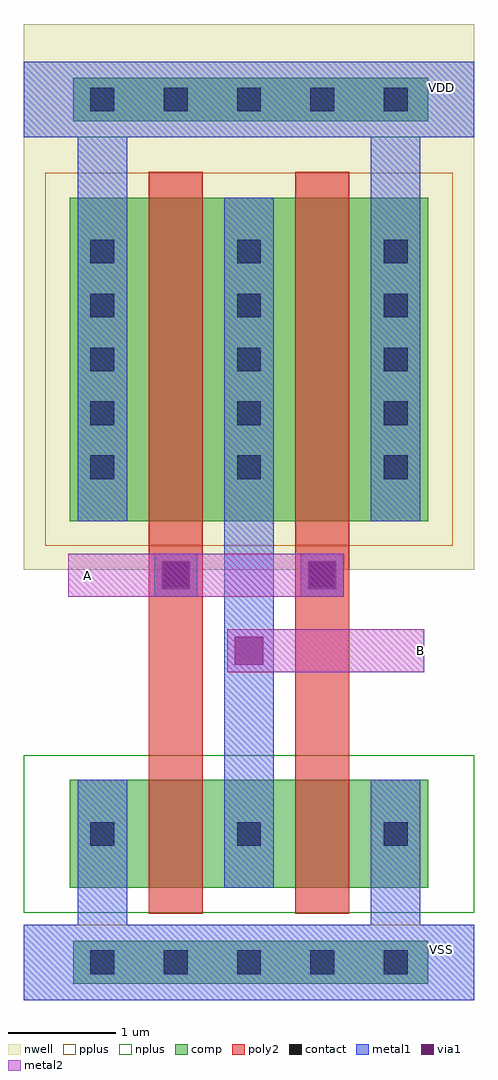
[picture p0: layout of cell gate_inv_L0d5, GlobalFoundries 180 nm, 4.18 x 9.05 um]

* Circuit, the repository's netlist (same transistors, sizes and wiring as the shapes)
** sch_path: /foss/designs/chipathon_2025/designs/gf180/gate_inv_L0d5/xschem/gate_inv_L0d5.sch
.subckt gate_inv_L0d5 VDD B A VSS
*.PININFO B:O A:I VDD:B VSS:B
MN B A VSS VSS nfet_03v3 L=0.5u W=1u nf=1 m=2
MP B A VDD VDD pfet_03v3 L=0.5u W=3u nf=1 m=2
.ends

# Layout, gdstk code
import gdstk
lib = gdstk.Library(unit=1e-6, precision=5e-09)
def R(c, l, rs):  # rectangles x0, y0, x1, y1
    for r in rs: c.add(gdstk.rectangle(r[:2], r[2:], *l))
def A(c, l, x, y, w, h, nx, ny, dx, dy):  # array of equal rectangles
    R(c, l, [(x+i*dx, y+j*dy, x+i*dx+w, y+j*dy+h) for i in range(nx) for j in range(ny)])
nwell = (21, 0)
comp = (22, 0)
poly2 = (30, 0)
pplus = (31, 0)
nplus = (32, 0)
contact = (33, 0)
metal1 = (34, 0)
via1 = (35, 0)
metal2 = (36, 0)

gate_inv_l0d5 = lib.new_cell('gate_inv_L0d5')
R(gate_inv_l0d5, nwell, [(-0.005,3.99,4.175,9.05)])
A(gate_inv_l0d5, comp, 0.525, 0.15, 0.4, 0.4, 5, 2, 0.68, 8)
R(gate_inv_l0d5, comp, [(0.455,0.15,3.745,0.55), (0.425,1.04,3.745,2.04), (0.425,4.44,3.745,7.44), (0.455,8.15,3.745,8.55)])
R(gate_inv_l0d5, poly2, [(1.155,0.8,1.655,2.28), (1.155,0.8,1.655,3.69), (2.515,0.8,3.015,2.28), (2.515,0.8,3.015,3.69), (1.155,3.69,1.655,4.19), (2.515,3.69,3.015,4.19), (1.155,4.19,1.655,7.68), (2.515,4.19,3.015,7.68)])
R(gate_inv_l0d5, pplus, [(-0.005,0,4.175,0.7), (0.195,4.21,3.975,7.67)])
R(gate_inv_l0d5, nplus, [(-0.005,0.81,4.175,2.27), (-0.005,8,4.175,8.7)])
A(gate_inv_l0d5, contact, 0.615, 0.24, 0.22, 0.22, 5, 2, 0.68, 8)
R(gate_inv_l0d5, contact, [(0.615,1.43,0.835,1.65), (0.615,1.43,0.835,1.65), (0.615,1.43,0.835,1.65), (1.975,1.43,2.195,1.65), (1.975,1.43,2.195,1.65), (1.975,1.43,2.195,1.65), (3.335,1.43,3.555,1.65), (3.335,1.43,3.555,1.65), (3.335,1.43,3.555,1.65), (1.295,3.83,1.515,4.05), (2.655,3.83,2.875,4.05), (0.615,4.83,0.835,5.05), (0.615,4.83,0.835,5.05), (0.615,4.83,0.835,5.05), (1.975,4.83,2.195,5.05), (1.975,4.83,2.195,5.05), (1.975,4.83,2.195,5.05), (3.335,4.83,3.555,5.05), (3.335,4.83,3.555,5.05), (3.335,4.83,3.555,5.05), (0.615,5.33,0.835,5.55), (0.615,5.33,0.835,5.55), (0.615,5.33,0.835,5.55), (1.975,5.33,2.195,5.55), (1.975,5.33,2.195,5.55), (1.975,5.33,2.195,5.55), (3.335,5.33,3.555,5.55), (3.335,5.33,3.555,5.55), (3.335,5.33,3.555,5.55), (0.615,5.83,0.835,6.05), (0.615,5.83,0.835,6.05), (0.615,5.83,0.835,6.05), (1.975,5.83,2.195,6.05), (1.975,5.83,2.195,6.05), (1.975,5.83,2.195,6.05), (3.335,5.83,3.555,6.05), (3.335,5.83,3.555,6.05), (3.335,5.83,3.555,6.05), (0.615,6.33,0.835,6.55), (0.615,6.33,0.835,6.55), (0.615,6.33,0.835,6.55), (1.975,6.33,2.195,6.55), (1.975,6.33,2.195,6.55), (1.975,6.33,2.195,6.55), (3.335,6.33,3.555,6.55), (3.335,6.33,3.555,6.55), (3.335,6.33,3.555,6.55), (0.615,6.83,0.835,7.05), (0.615,6.83,0.835,7.05), (0.615,6.83,0.835,7.05), (1.975,6.83,2.195,7.05), (1.975,6.83,2.195,7.05), (1.975,6.83,2.195,7.05), (3.335,6.83,3.555,7.05), (3.335,6.83,3.555,7.05), (3.335,6.83,3.555,7.05)])
A(gate_inv_l0d5, metal1, 0.525, 0.15, 0.4, 0.4, 5, 2, 0.68, 8)
R(gate_inv_l0d5, metal1, [(0.495,1.04,0.955,2.04), (0.495,1.04,0.955,2.04), (0.495,1.04,0.955,2.04), (1.855,1.04,2.315,2.04), (1.855,1.04,2.315,2.04), (1.855,1.04,2.315,2.04), (3.215,1.04,3.675,2.04), (3.215,1.04,3.675,2.04), (3.215,1.04,3.675,2.04), (0.495,1.31,0.955,1.77), (0.495,1.31,0.955,1.77), (0.495,1.31,0.955,1.77), (1.855,1.31,2.315,1.77), (1.855,1.31,2.315,1.77), (1.855,1.31,2.315,1.77), (3.215,1.31,3.675,1.77), (3.215,1.31,3.675,1.77), (3.215,1.31,3.675,1.77), (1.885,3.04,2.285,3.44), (1.205,3.74,1.605,4.14), (1.205,3.74,1.605,4.14), (2.565,3.74,2.965,4.14), (2.565,3.74,2.965,4.14), (0.495,4.44,0.955,7.44), (0.495,4.44,0.955,7.44), (0.495,4.44,0.955,7.44), (1.855,4.44,2.315,7.44), (1.855,4.44,2.315,7.44), (1.855,4.44,2.315,7.44), (3.215,4.44,3.675,7.44), (3.215,4.44,3.675,7.44), (3.215,4.44,3.675,7.44), (0.495,4.71,0.955,5.17), (0.495,4.71,0.955,5.17), (0.495,4.71,0.955,5.17), (1.855,4.71,2.315,5.17), (1.855,4.71,2.315,5.17), (1.855,4.71,2.315,5.17), (3.215,4.71,3.675,5.17), (3.215,4.71,3.675,5.17), (3.215,4.71,3.675,5.17), (0.495,5.21,0.955,5.67), (0.495,5.21,0.955,5.67), (0.495,5.21,0.955,5.67), (1.855,5.21,2.315,5.67), (1.855,5.21,2.315,5.67), (1.855,5.21,2.315,5.67), (3.215,5.21,3.675,5.67), (3.215,5.21,3.675,5.67), (3.215,5.21,3.675,5.67), (0.495,5.71,0.955,6.17), (0.495,5.71,0.955,6.17), (0.495,5.71,0.955,6.17), (1.855,5.71,2.315,6.17), (1.855,5.71,2.315,6.17), (1.855,5.71,2.315,6.17), (3.215,5.71,3.675,6.17), (3.215,5.71,3.675,6.17), (3.215,5.71,3.675,6.17), (0.495,6.21,0.955,6.67), (0.495,6.21,0.955,6.67), (0.495,6.21,0.955,6.67), (1.855,6.21,2.315,6.67), (1.855,6.21,2.315,6.67), (1.855,6.21,2.315,6.67), (3.215,6.21,3.675,6.67), (3.215,6.21,3.675,6.67), (3.215,6.21,3.675,6.67), (0.495,6.71,0.955,7.17), (0.495,6.71,0.955,7.17), (0.495,6.71,0.955,7.17), (1.855,6.71,2.315,7.17), (1.855,6.71,2.315,7.17), (1.855,6.71,2.315,7.17), (3.215,6.71,3.675,7.17), (3.215,6.71,3.675,7.17), (3.215,6.71,3.675,7.17)])
R(gate_inv_l0d5, via1, [(1.955,3.11,2.215,3.37), (1.275,3.81,1.535,4.07), (2.635,3.81,2.895,4.07)])
R(gate_inv_l0d5, metal2, [(1.885,3.04,2.285,3.44), (1.205,3.74,1.605,4.14), (2.565,3.74,2.965,4.14)])
gate_inv_l0d5.add(gdstk.FlexPath([(3.71,3.24),(1.885,3.24)], 0.4, ends="flush", simple_path=True, layer=36, datatype=0))  # metal2
gate_inv_l0d5.add(gdstk.FlexPath([(2.95,3.94),(0.41,3.94)], 0.4, ends="flush", simple_path=True, layer=36, datatype=0))  # metal2
gate_inv_l0d5.add(gdstk.FlexPath([(2.085,2.04),(2.085,4.44)], 0.46, ends="flush", simple_path=True, layer=34, datatype=0))  # metal1
gate_inv_l0d5.add(gdstk.FlexPath([(0.725,7.44),(0.725,8)], 0.46, ends="flush", simple_path=True, layer=34, datatype=0))  # metal1
gate_inv_l0d5.add(gdstk.FlexPath([(3.445,7.44),(3.445,8)], 0.46, ends="flush", simple_path=True, layer=34, datatype=0))  # metal1
gate_inv_l0d5.add(gdstk.FlexPath([(0.725,0.7),(0.725,1.04)], 0.46, ends="flush", simple_path=True, layer=34, datatype=0))  # metal1
gate_inv_l0d5.add(gdstk.FlexPath([(3.445,0.7),(3.445,1.04)], 0.46, ends="flush", simple_path=True, layer=34, datatype=0))  # metal1
gate_inv_l0d5.add(gdstk.FlexPath([(-0.005,8.35),(4.175,8.35)], 0.7, ends="flush", simple_path=True, layer=34, datatype=0))  # metal1
gate_inv_l0d5.add(gdstk.FlexPath([(-0.005,0.35),(4.175,0.35)], 0.7, ends="flush", simple_path=True, layer=34, datatype=0))  # metal1
gate_inv_l0d5.add(gdstk.Label('B', (3.675,3.24), layer=36, texttype=10))
gate_inv_l0d5.add(gdstk.Label('A', (0.59,3.94), layer=36, texttype=10))
gate_inv_l0d5.add(gdstk.Label('VDD', (3.87,8.46), layer=34, texttype=10))
gate_inv_l0d5.add(gdstk.Label('VSS', (3.87,0.465), layer=34, texttype=10))

lib.write_gds('gate_inv_L0d5.gds')
